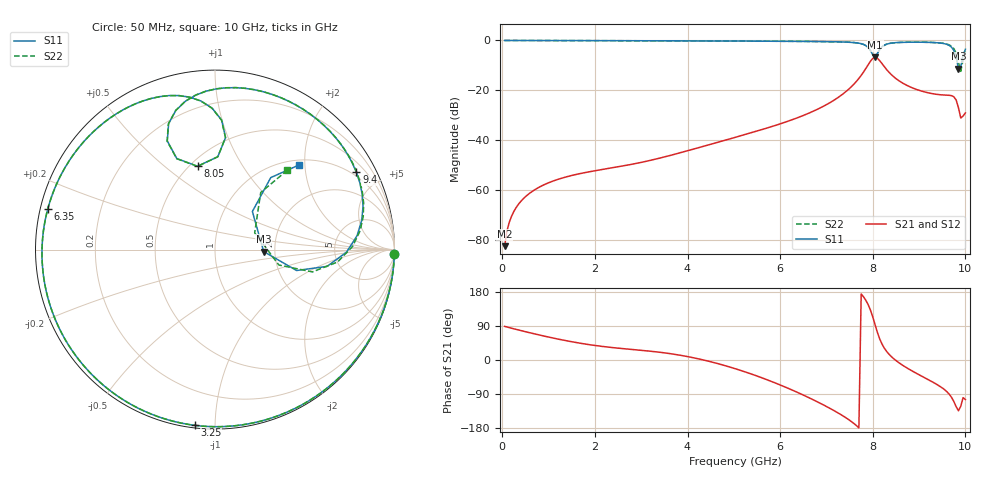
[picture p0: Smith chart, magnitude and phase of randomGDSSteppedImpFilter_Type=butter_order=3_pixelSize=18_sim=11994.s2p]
! freq	dB(S11)	phase(S11)	dB(S12)	phase(S12)
!  dB(S21)	phase(S21)	dB(S22)	phase(S22)
!S-par simulation data
#  GHz  S  DB  R 50
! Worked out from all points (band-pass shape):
!   200 points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, 50 MHz to 10 GHz, reference 50 ohm
!   highest |S21| = -6.75 dB at 8.05 GHz (marker M1); lowest = -82.4 dB at 50 MHz (marker M2)
!   |S21| within 3 dB of the highest: 7.9 GHz to 8.218 GHz (317.9 MHz wide, 3.94 % of centre)
!   lowest |S11| = -11.3 dB at 9.85 GHz (marker M3), VSWR 1.75, Z = 87.2 - j2.05 ohm
!   |S11| at or under -10 dB: 9.836 GHz to 9.906 GHz (69.71 MHz wide, 0.706 % of centre)
!   |S22| runs from -12.4 to 0.0 dB; largest |S21 - S12| = 0
!   S11 on the Smith chart (normalised r, x): 50 MHz: 1, -73; 3.25 GHz: 0.01, -0.89; 6.35 GHz: 0.02, +0.12; 8.05 GHz: 0.55, +0.65; 9.4 GHz: 0.84, +3.74; 10 GHz: 1.10, +1.87
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0.05  -0.00 -1.6  -82.41 88.8  -82.41 88.8  -0.00 -1.6
0.25  -0.01 -7.7  -68.48 82.3  -68.48 82.3  -0.01 -7.7
0.55  -0.02 -16.8  -61.80 73.2  -61.80 73.2  -0.02 -16.8
1.75  -0.07 -52.9  -53.07 42.9  -53.07 42.9  -0.07 -52.9
3.25  -0.13 -96.6  -47.81 22.5  -47.81 22.5  -0.13 -96.6
3.4  -0.13 -100.9  -47.14 20.4  -47.14 20.4  -0.13 -100.9
5.05  -0.24 -149.9  -38.71 -23.7  -38.71 -23.7  -0.24 -149.9
6.35  -0.37 166.3  -31.14 -84.2  -31.14 -84.2  -0.37 166.3
6.7  -0.42 152.7  -28.48 -104.1  -28.48 -104.1  -0.42 152.7
7.65  -0.96 106.6  -16.33 -173.4  -16.33 -173.4  -0.96 106.7
7.8  -1.60 95.4  -12.67 166.8  -12.67 166.8  -1.60 95.5
7.95  -4.06 84.6  -8.31 131.7  -8.31 131.7  -4.06 84.6
8.05  -6.48 101.8  -6.75 93.0  -6.75 93.0  -6.49 101.9
8.15  -3.60 113.7  -8.10 55.5  -8.10 55.5  -3.60 113.8
8.35  -1.23 97.1  -12.73 15.3  -12.73 15.3  -1.23 97.2
8.85  -0.70 63.9  -18.96 -29.0  -18.96 -29.0  -0.69 64.1
9.4  -0.94 28.7  -21.64 -65.7  -21.64 -65.7  -0.91 29.3
9.65  -2.00 5.5  -21.98 -90.1  -21.98 -90.1  -1.77 7.4
9.75  -4.00 -8.5  -22.56 -109.4  -22.56 -109.4  -3.27 -5.8
9.85  -11.33 -2.3  -26.91 -134.0  -26.91 -134.0  -8.73 -13.6
9.9  -10.54 45.5  -31.07 -122.2  -31.07 -122.2  -12.39 23.0
10  -3.54 45.2  -29.01 -104.2  -29.01 -104.2  -4.47 47.7
